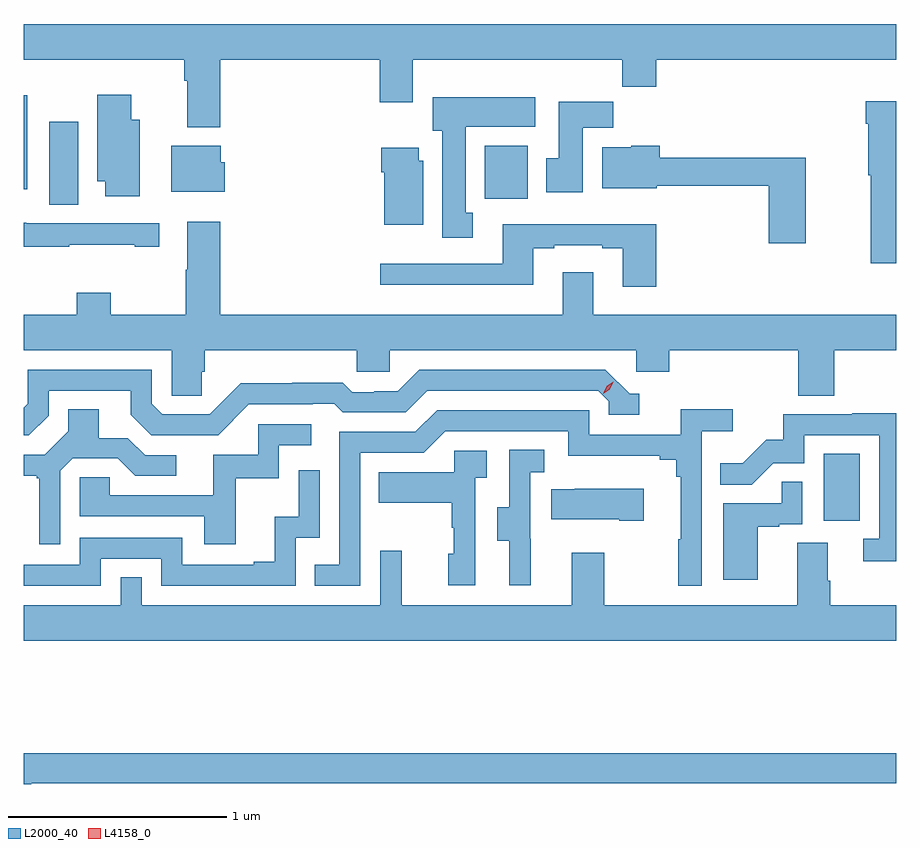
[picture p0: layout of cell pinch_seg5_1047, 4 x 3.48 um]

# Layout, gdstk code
import gdstk
lib = gdstk.Library(unit=1e-6, precision=1e-09)
def R(c, l, rs):  # rectangles x0, y0, x1, y1
    for r in rs: c.add(gdstk.rectangle(r[:2], r[2:], *l))
def P(c, l, *ps):  # polygons
    for p in ps: c.add(gdstk.Polygon(p, *l))
L2000_40 = (2000, 40)
L4158_0 = (4158, 0)

pinch_seg5_1047 = lib.new_cell('pinch_seg5_1047')
R(pinch_seg5_1047, L2000_40, [(846.236,865.302,846.4,865.609), (842.684,866.752,842.818,867.133), (844.682,866.78,844.879,867.022), (842.568,866.823,842.584,867.253)])
P(pinch_seg5_1047, L2000_40, [(843.47,867.416),(844.199,867.416),(844.199,867.222),(844.351,867.222),(844.351,867.416),(845.311,867.416),(845.311,867.292),(845.468,867.292),(845.468,867.416),(846.568,867.416),(846.568,867.58),(842.568,867.58),(842.568,867.416),(843.305,867.416),(843.305,867.32),(843.317,867.32),(843.317,867.107),(843.47,867.107)],
  [(843.1,867.142),(843.061,867.142),(843.061,867.256),(842.906,867.256),(842.906,866.858),(842.942,866.858),(842.942,866.79),(843.1,866.79)],
  [(844.627,866.714),(844.594,866.714),(844.594,867.11),(844.912,867.11),(844.912,867.244),(844.442,867.244),(844.442,867.09),(844.487,867.09),(844.487,866.601),(844.627,866.601)],
  [(846.568,867.226),(846.428,867.226),(846.428,867.122),(846.44,867.122),(846.44,866.886),(846.452,866.886),(846.452,866.484),(846.568,866.484)],
  [(845.131,867.104),(845.27,867.104),(845.27,867.223),(845.021,867.223),(845.021,866.964),(844.964,866.964),(844.964,866.808),(845.131,866.808)],
  [(843.49,866.946),(843.472,866.946),(843.472,867.022),(843.245,867.022),(843.245,866.81),(843.49,866.81)],
  [(846.154,866.968),(845.483,866.968),(845.483,867.022),(845.352,867.022),(845.352,867.016),(845.219,867.016),(845.219,866.828),(845.47,866.828),(845.47,866.839),(845.984,866.839),(845.984,866.574),(846.154,866.574)],
  [(844.399,866.952),(844.378,866.952),(844.378,867.013),(844.208,867.013),(844.208,866.9),(844.22,866.9),(844.22,866.66),(844.399,866.66)],
  [(843.383,865.986),(843.398,865.986),(843.398,866.084),(844.095,866.084),(844.095,865.986),(844.245,865.986),(844.245,866.084),(845.376,866.084),(845.376,865.986),(845.528,865.986),(845.528,866.084),(846.119,866.084),(846.119,865.876),(846.284,865.876),(846.284,866.084),(846.568,866.084),(846.568,866.248),(845.179,866.248),(845.179,866.443),(845.039,866.443),(845.039,866.248),(843.47,866.248),(843.47,866.674),(843.317,866.674),(843.317,866.453),(843.31,866.453),(843.31,866.248),(842.967,866.248),(842.967,866.347),(842.812,866.347),(842.812,866.248),(842.568,866.248),(842.568,866.084),(843.246,866.084),(843.246,865.876),(843.383,865.876)],
  [(842.777,866.569),(843.077,866.569),(843.077,866.559),(843.19,866.559),(843.19,866.667),(842.58,866.667),(842.58,866.668),(842.568,866.668),(842.568,866.559),(842.777,866.559)],
  [(845.468,866.662),(844.763,866.662),(844.763,866.481),(844.203,866.481),(844.203,866.384),(844.903,866.384),(844.903,866.553),(844.999,866.553),(844.999,866.565),(845.219,866.565),(845.219,866.553),(845.315,866.553),(845.315,866.376),(845.468,866.376)],
  [(842.682,865.785),(842.682,865.899),(843.059,865.899),(843.059,865.789),(843.153,865.695),(843.459,865.695),(843.6,865.836),(843.893,865.836),(843.893,865.839),(843.992,865.839),(844.031,865.8),(844.32,865.8),(844.419,865.899),(845.202,865.899),(845.25,865.851),(845.25,865.788),(845.389,865.788),(845.389,865.884),(845.346,865.884),(845.235,865.995),(844.382,865.995),(844.283,865.896),(844.176,865.896),(844.176,865.893),(844.073,865.893),(844.031,865.936),(843.798,865.936),(843.798,865.933),(843.562,865.933),(843.42,865.791),(843.204,865.791),(843.156,865.839),(843.156,865.995),(842.586,865.995),(842.586,865.839),(842.568,865.821),(842.568,865.695),(842.592,865.695)],
  [(844.11,865.614),(844.401,865.614),(844.5,865.713),(845.064,865.713),(845.064,865.601),(845.483,865.601),(845.483,865.582),(845.56,865.582),(845.56,865.505),(845.579,865.505),(845.579,865.217),(845.568,865.217),(845.568,865.005),(845.676,865.005),(845.676,865.712),(845.818,865.712),(845.818,865.814),(845.579,865.814),(845.579,865.698),(845.16,865.698),(845.16,865.809),(844.463,865.809),(844.364,865.71),(844.014,865.71),(844.014,865.101),(843.901,865.101),(843.901,865.005),(844.11,865.005)],
  [(842.736,865.533),(842.793,865.59),(842.999,865.59),(843.08,865.509),(843.268,865.509),(843.268,865.602),(843.126,865.602),(843.046,865.682),(842.911,865.682),(842.911,865.814),(842.771,865.814),(842.771,865.712),(842.664,865.605),(842.568,865.605),(842.568,865.508),(842.628,865.508),(842.628,865.497),(842.639,865.497),(842.639,865.194),(842.736,865.194)],
  [(846.568,865.796),(846.367,865.796),(846.367,865.791),(846.049,865.791),(846.049,865.674),(845.972,865.674),(845.865,865.567),(845.761,865.567),(845.761,865.468),(845.905,865.468),(846.003,865.566),(846.147,865.566),(846.147,865.695),(846.489,865.695),(846.489,865.221),(846.417,865.221),(846.417,865.116),(846.568,865.116)],
  [(843.539,865.497),(843.738,865.497),(843.738,865.65),(843.886,865.65),(843.886,865.746),(843.642,865.746),(843.642,865.605),(843.437,865.605),(843.437,865.419),(842.963,865.419),(842.963,865.503),(842.826,865.503),(842.826,865.323),(843.395,865.323),(843.395,865.194),(843.539,865.194)],
  [(844.892,865.221),(844.89,865.221),(844.89,865.525),(844.954,865.525),(844.954,865.628),(844.794,865.628),(844.794,865.365),(844.739,865.365),(844.739,865.21),(844.793,865.21),(844.793,865.008),(844.892,865.008)],
  [(844.638,865.499),(844.69,865.499),(844.69,865.623),(844.542,865.623),(844.542,865.525),(844.195,865.525),(844.195,865.385),(844.53,865.385),(844.53,865.271),(844.54,865.271),(844.54,865.152),(844.514,865.152),(844.514,865.008),(844.638,865.008)],
  [(842.922,865.128),(843.198,865.128),(843.198,865.005),(843.816,865.005),(843.816,865.224),(843.924,865.224),(843.924,865.534),(843.828,865.534),(843.828,865.322),(843.719,865.322),(843.719,865.114),(843.623,865.114),(843.623,865.101),(843.294,865.101),(843.294,865.224),(842.826,865.224),(842.826,865.101),(842.568,865.101),(842.568,865.005),(842.922,865.005)],
  [(845.932,865.275),(846.032,865.275),(846.032,865.287),(846.138,865.287),(846.138,865.481),(846.043,865.481),(846.043,865.383),(845.774,865.383),(845.774,865.032),(845.932,865.032)],
  [(845.41,865.45),(845.095,865.45),(845.095,865.447),(844.987,865.447),(844.987,865.31),(845.297,865.31),(845.297,865.303),(845.41,865.303)],
  [(846.568,864.916),(846.266,864.916),(846.266,865.028),(846.253,865.028),(846.253,865.202),(846.113,865.202),(846.113,864.916),(845.229,864.916),(845.229,865.156),(845.081,865.156),(845.081,864.916),(844.301,864.916),(844.301,865.165),(844.203,865.165),(844.203,864.916),(843.108,864.916),(843.108,865.043),(843.012,865.043),(843.012,864.916),(842.568,864.916),(842.568,864.752),(846.568,864.752)],
  [(842.602,864.1),(846.568,864.1),(846.568,864.236),(842.568,864.236),(842.568,864.096),(842.602,864.096)])
P(pinch_seg5_1047, L4158_0, [(845.224,865.886),(845.224,865.887),(845.24,865.919),(845.271,865.939),(845.271,865.939),(845.271,865.938),(845.255,865.906),(845.224,865.886)])

lib.write_gds('pinch_seg5_1047.gds')
